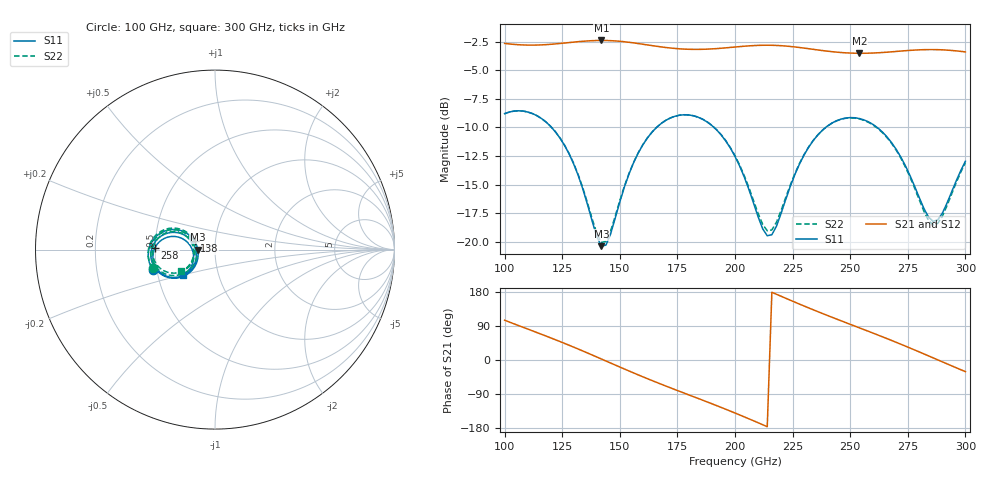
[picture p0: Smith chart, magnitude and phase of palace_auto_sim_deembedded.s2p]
! Created with skrf 1.11.0 (http://scikit-rf.org).
# GHz S DB R 50.0
!freq dBS11 angS11 dBS21 angS21 dBS12 angS12 dBS22 angS22
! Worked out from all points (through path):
!   101 points, 100 GHz to 300 GHz, reference 50 ohm
!   highest |S21| = -2.39 dB at 142 GHz (marker M1); lowest = -3.5 dB at 254 GHz (marker M2)
!   group delay of S21, straight-line fit = 6.89 ps
!   lowest |S11| = -20.4 dB at 142 GHz (marker M3), VSWR 1.21, Z = 41.3 + j0.0118 ohm
!   |S11| at or under -10 dB: 120.4 GHz to 165.9 GHz (45.55 GHz wide, 31.8 % of centre); 190.9 GHz to 239.4 GHz (48.47 GHz wide, 22.5 % of centre); 261.7 GHz to end of sweep
!   |S22| runs from -20.0 to -8.5 dB; largest |S21 - S12| = 8.3e-14
!   S11 on the Smith chart (normalised r, x): 100 GHz: 0.48, -0.13; 138 GHz: 0.79, +0.08; 258 GHz: 0.50, +0.01; 300 GHz: 0.68, -0.20
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100  -8.79 -161.5  -2.65 105.0  -2.65 105.0  -8.80 -163.4
118  -9.53 166.8  -2.75 63.1  -2.75 63.1  -9.52 164.9
126  -11.56 154.9  -2.61 43.9  -2.61 43.9  -11.54 153.0
134  -15.41 150.3  -2.46 23.6  -2.46 23.6  -15.31 148.7
138  -18.19 157.5  -2.41 13.2  -2.41 13.2  -17.99 155.9
142  -20.38 179.9  -2.39 2.6  -2.39 2.6  -20.05 177.4
146  -19.32 -152.4  -2.41 -8.0  -2.41 -8.0  -19.07 -156.3
154  -14.06 -138.0  -2.55 -29.0  -2.55 -29.0  -14.01 -141.9
168  -9.64 -155.2  -2.95 -64.0  -2.95 -64.0  -9.64 -158.9
184  -9.10 178.2  -3.17 -101.5  -3.17 -101.5  -9.10 174.5
200  -12.53 156.2  -2.96 -139.9  -2.96 -139.9  -12.46 152.8
214  -19.47 -177.2  -2.81 -176.0  -2.81 -176.0  -19.03 178.3
218  -18.63 -154.1  -2.82 173.5  -2.82 173.5  -18.29 -160.2
224  -15.16 -139.9  -2.91 157.8  -2.91 157.8  -15.03 -146.5
234  -11.13 -145.8  -3.17 132.4  -3.17 132.4  -11.12 -152.1
244  -9.41 -160.3  -3.41 108.3  -3.41 108.3  -9.43 -166.5
254  -9.22 -175.8  -3.51 84.8  -3.51 84.8  -9.25 177.8
258  -9.51 178.1  -3.50 75.5  -3.50 75.5  -9.56 171.7
268  -11.34 165.1  -3.38 51.5  -3.38 51.5  -11.40 158.3
278  -15.17 162.6  -3.23 26.4  -3.23 26.4  -15.33 155.4
286  -18.21 -172.5  -3.19 5.6  -3.19 5.6  -18.53 -179.1
300  -12.96 -141.4  -3.39 -30.7  -3.39 -30.7  -13.07 -147.4
